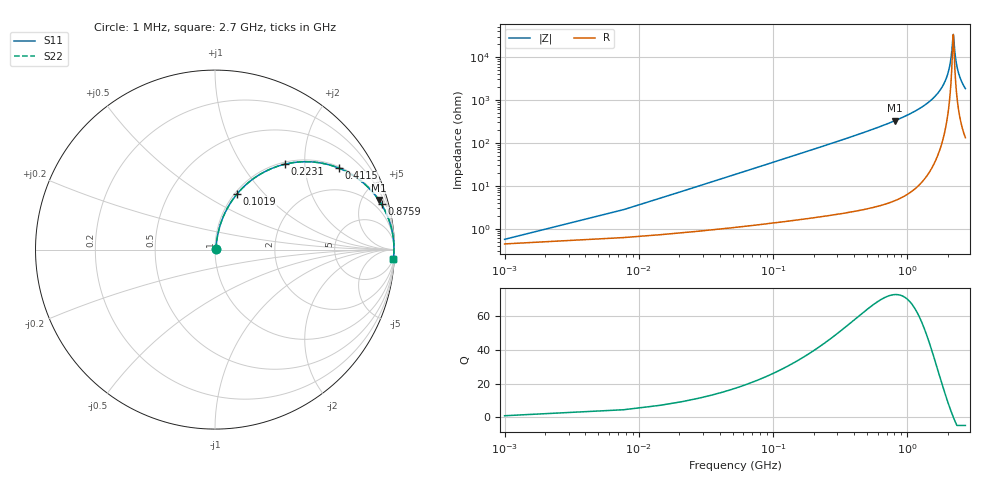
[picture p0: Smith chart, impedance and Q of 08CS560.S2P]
! Coilcraft 0805CS-560 Chip Inductor
! 11 June 2002
# MHZ S MA R 50
!Freq  MagS11  AngS11  MagS21  AngS21  MagS12  AngS12  MagS22  AngS22
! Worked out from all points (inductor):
!   403 points, 1 MHz to 2.7 GHz, reference 50 ohm
!   read as one part in series: L = 56 nH near 14.46 MHz
!   highest Q = 73 at 808.6 MHz (marker M1), where L = 64.8 nH
!   self-resonance near 2.188 GHz
!   S11 on the Smith chart (normalised r, x): 1 MHz: 1.01, +0.01; 102 MHz: 1.03, +0.72; 223.1 MHz: 1.04, +1.59; 411.5 MHz: 1.05, +3.00; 875.9 MHz: 1.10, +7.33; 2.7 GHz: 4, -37
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1  0.005617 38.4  0.9956 -0.2  0.9956 -0.2  0.005617 38.4
21.19  0.0742 79.6  0.9893 -4.2  0.9893 -4.2  0.0742 79.6
34.65  0.1203 78.7  0.9836 -6.9  0.9836 -6.9  0.1203 78.7
61.57  0.2099 74.9  0.9668 -12.1  0.9668 -12.1  0.2099 74.9
101.95  0.3345 68.3  0.9298 -19.5  0.9298 -19.5  0.3345 68.3
223.09  0.6145 50.7  0.7745 -37.9  0.7745 -37.9  0.6145 50.7
411.53  0.8258 33.4  0.5501 -55.7  0.5501 -55.7  0.8258 33.4
451.91  0.8506 30.8  0.5122 -58.3  0.5122 -58.3  0.8506 30.8
808.6  0.9532 16.8  0.2895 -72.4  0.2895 -72.4  0.9532 16.8
875.9  0.9614 15.2  0.2622 -74.0  0.2622 -74.0  0.9614 15.2
902.82  0.9642 14.6  0.2521 -74.6  0.2521 -74.6  0.9642 14.6
1353.73  0.9892 7.4  0.1286 -81.5  0.1286 -81.5  0.9892 7.4
1804.64  0.9962 2.9  0.05078 -84.2  0.05078 -84.2  0.9962 2.9
1952.7  0.9969 1.7  0.03026 -83.2  0.03026 -83.2  0.9969 1.7
2053.65  0.9971 1.0  0.0173 -79.8  0.0173 -79.8  0.9971 1.0
2120.95  0.9971 0.5  0.009192 -71.3  0.009192 -71.3  0.9971 0.5
2188.25  0.997 0.0  0.003033 -12.6  0.003033 -12.6  0.997 0.0
2208.44  0.997 -0.1  0.003441 29.6  0.003441 29.6  0.997 -0.1
2255.55  0.9969 -0.4  0.007783 66.4  0.007783 66.4  0.9969 -0.4
2316.12  0.9967 -0.8  0.01435 76.5  0.01435 76.5  0.9967 -0.8
2410.34  0.9964 -1.4  0.02454 80.8  0.02454 80.8  0.9964 -1.4
2700  0.9947 -3.1  0.05399 82.8  0.05399 82.8  0.9947 -3.1
